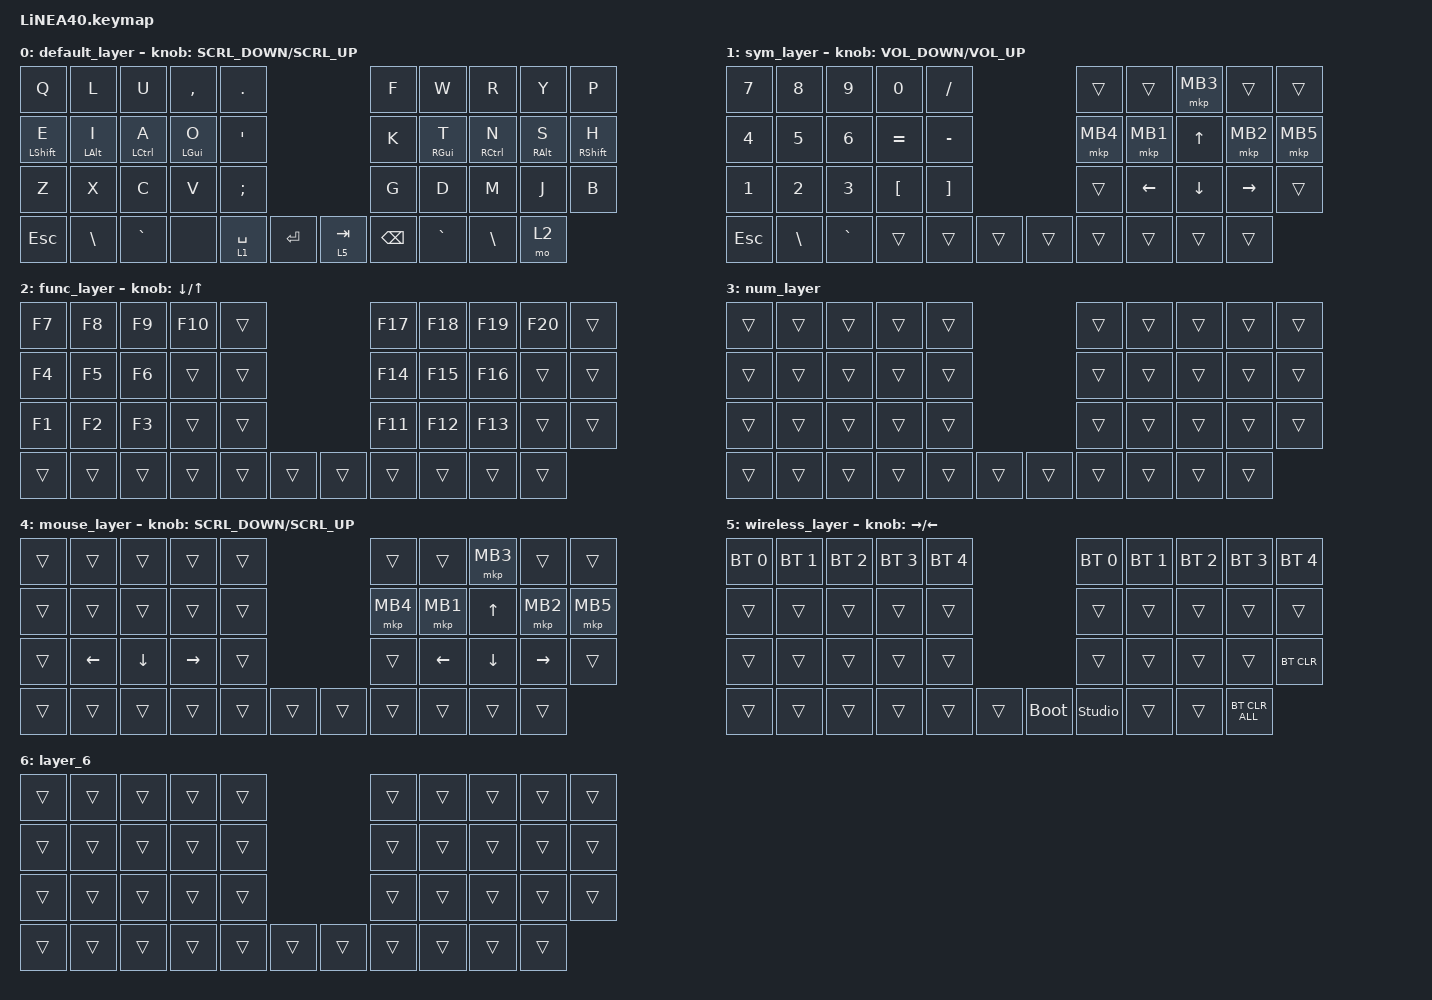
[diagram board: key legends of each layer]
#include <dt-bindings/zmk/input_transform.h>
#include <input/processors.dtsi>
#include <zephyr/dt-bindings/input/input-event-codes.h>
#include <behaviors.dtsi>
#include <dt-bindings/zmk/bt.h>
#include <dt-bindings/zmk/keys.h>
#include <dt-bindings/zmk/pointing.h>

#define ZMK_POINTING_DEFAULT_SCRL_VAL 150

// ==========================================
// 1. レイヤー番号の定義 (マクロ)
// ==========================================
// 0: DEFAULT - 基本英字入力（ホームロウ Mod-Tap）
// 1: SYM      - 記号・数字・マウス操作
// 2: FUNC     - ファンクションキー
// 3: NUM      - テンキー等
// 4: MOUSE    - オートマウスレイヤー
// 5: WIRELESS - Bluetooth設定

#define DEFAULT  0
#define SYM      1
#define FUNC     2
#define NUM      3
#define MOUSE    4
#define WIRELESS 5

// ==========================================
// 2. キー配列定義 (Keymap)
// ==========================================

/ {
    keymap {
        compatible = "zmk,keymap";

        // ────────────────────────────────────────────────
        // Layer 0: DEFAULT
        // 左手ホームロウ: E=Shift, I=Alt, A=Ctrl, O=Win
        // 右手ホームロウ: T=Win, N=Ctrl, S=Alt, H=Shift
        // ────────────────────────────────────────────────

        default_layer {
            bindings = <
&kp Q          &kp L          &kp U         &kp COMMA    &kp PERIOD                                &kp F          &kp W        &kp R         &kp Y          &kp P
&hml LSHIFT E  &hml LALT I    &hml LCTRL A  &hml LGUI O  &kp SINGLE_QUOTE                          &kp K          &hmr RGUI T  &hmr RCTRL N  &hmr RALT S    &hmr RSHIFT H
&kp Z          &kp X          &kp C         &kp V        &kp SEMICOLON                             &kp G          &kp D        &kp M         &kp J          &kp B
&kp ESC        &kp BACKSLASH  &kp GRAVE     &none        &lt 1 SPACE       &kp ENTER    &lt 5 TAB  &kp BACKSPACE               &kp GRAVE     &kp BACKSLASH  &mo 2
            >;

            sensor-bindings = <&mouse_scrl SCRL_DOWN SCRL_UP>;
        };

        sym_layer {
            bindings = <
&kp NUMBER_7  &kp NUMBER_8   &kp NUMBER_9  &kp NUMBER_0      &kp SLASH                            &trans    &trans    &mkp MB3  &trans     &trans
&kp NUMBER_4  &kp NUMBER_5   &kp NUMBER_6  &kp EQUAL         &kp MINUS                            &mkp MB4  &mkp MB1  &kp UP    &mkp MB2   &mkp MB5
&kp NUMBER_1  &kp NUMBER_2   &kp NUMBER_3  &kp LEFT_BRACKET  &kp RIGHT_BRACKET                    &trans    &kp LEFT  &kp DOWN  &kp RIGHT  &trans
&kp ESC       &kp BACKSLASH  &kp GRAVE     &trans            &trans             &trans    &trans  &trans              &trans    &trans     &trans
            >;

            sensor-bindings = <&re_kp C_VOLUME_DOWN C_VOLUME_UP>;
        };

        func_layer {
            bindings = <
&kp F7  &kp F8  &kp F9  &kp F10  &trans                    &kp F17  &kp F18  &kp F19  &kp F20  &trans
&kp F4  &kp F5  &kp F6  &trans   &trans                    &kp F14  &kp F15  &kp F16  &trans   &trans
&kp F1  &kp F2  &kp F3  &trans   &trans                    &kp F11  &kp F12  &kp F13  &trans   &trans
&trans  &trans  &trans  &trans   &trans  &trans    &trans  &trans            &trans   &trans   &trans
            >;

            sensor-bindings = <&inc_dec_kp DOWN UP>;
        };

        num_layer {
            bindings = <
&trans  &trans  &trans  &trans  &trans                    &trans  &trans  &trans  &trans  &trans
&trans  &trans  &trans  &trans  &trans                    &trans  &trans  &trans  &trans  &trans
&trans  &trans  &trans  &trans  &trans                    &trans  &trans  &trans  &trans  &trans
&trans  &trans  &trans  &trans  &trans  &trans    &trans  &trans          &trans  &trans  &trans
            >;
        };

        mouse_layer {
            bindings = <
&trans  &trans  &trans  &trans  &trans                      &trans    &trans    &mkp MB3  &trans     &trans
&trans  &trans  &trans  &trans  &trans                    &mkp MB4  &mkp MB1  &kp UP    &mkp MB2   &mkp MB5
&trans    &kp LEFT  &kp DOWN  &kp RIGHT  &trans                      &trans    &kp LEFT  &kp DOWN  &kp RIGHT  &trans
&trans    &trans    &trans    &trans     &trans    &trans    &trans  &trans          &trans  &trans  &trans
            >;

            sensor-bindings = <&mouse_scrl SCRL_DOWN SCRL_UP>;
        };

        wireless_layer {
            bindings = <
&bt BT_SEL 0  &bt BT_SEL 1  &bt BT_SEL 2  &bt BT_SEL 3  &bt BT_SEL 4                         &bt BT_SEL 0    &bt BT_SEL 1  &bt BT_SEL 2  &bt BT_SEL 3  &bt BT_SEL 4
&trans        &trans        &trans        &trans        &trans                               &trans          &trans        &trans        &trans        &trans
&trans        &trans        &trans        &trans        &trans                               &trans          &trans        &trans        &trans        &bt BT_CLR
&trans        &trans        &trans        &trans        &trans        &trans    &bootloader  &studio_unlock                &trans        &trans        &bt BT_CLR_ALL
            >;

            sensor-bindings = <&inc_dec_kp RIGHT_ARROW LEFT_ARROW>;
        };

        layer_6 {
            bindings = <
&trans  &trans  &trans  &trans  &trans                    &trans  &trans  &trans  &trans  &trans
&trans  &trans  &trans  &trans  &trans                    &trans  &trans  &trans  &trans  &trans
&trans  &trans  &trans  &trans  &trans                    &trans  &trans  &trans  &trans  &trans
&trans  &trans  &trans  &trans  &trans  &trans    &trans  &trans          &trans  &trans  &trans
            >;
        };
    };
};

// ==========================================
// 3. マウス・スクロールの論理パラメータ設定
// ==========================================
// マウスカーソル設定

&mmv {
    delay-ms = <20>;
    trigger-period-ms = <5>;
    time-to-max-speed-ms = <100>;
    acceleration-exponent = <2>;
};

// マウススクロール設定

&msc {
    delay-ms = <3>;
    trigger-period-ms = <3>;
    time-to-max-speed-ms = <100>;
    acceleration-exponent = <0>;
};

// ==========================================
// 5. カスタム動作の定義 (Combos / Behaviors)
// ==========================================

/ {
    combos {
        compatible = "zmk,combos";

        // 全角/半角 (左上 E+I)
        // Delete (右上 R+Y)
        // Insert (右上 W+R)
        // 中クリック
        // 右クリック
        // 戻る (MB4)
        // 進む (MB5)
    };

    behaviors {
        re_kp: sensor_rotate_kp {
            compatible = "zmk,behavior-sensor-rotate-var";
            #sensor-binding-cells = <2>;
            bindings = <&kp>, <&kp>;
        };

        mouse_scrl: mouse_wheel_scrl {
            compatible = "zmk,behavior-sensor-rotate-var";
            #sensor-binding-cells = <2>;
            bindings = <&msc>, <&msc>;

            tap-ms = <20>;
        };

        // ──────────────────────────────────────────
        // ホームロウ Mod-Tap（ZMK公式推奨 Timeless設定）
        //
        // 左手用と右手用で分離し、Positional Hold-Tapを採用
        // これにより同じ手での修飾キー組み合わせが可能になる
        //
        // tapping-term-ms: 280ms（意図的なホールドを認識しやすく）
        // require-prior-idle-ms: 150ms（タイピング中の誤反応防止）
        // quick-tap-ms: 175ms（同じキーの連続入力をサポート）
        // flavor: "balanced"（次のキーの押下+リリースで判定）
        // hold-trigger-on-release: 同じ手での修飾キー組み合わせを可能に
        // ──────────────────────────────────────────
        // 左手ホームロウ用（右手のキーポジションを指定）

        hml: homerow_mod_left {
            compatible = "zmk,behavior-hold-tap";
            #binding-cells = <2>;
            flavor = "balanced";
            tapping-term-ms = <180>;
            require-prior-idle-ms = <150>;
            quick-tap-ms = <175>;
            bindings = <&kp>, <&kp>;

            // 右手のキーポジション（0-based、左から順に）
            // 右半分: 5-9, 15-19, 25-29, 35-40

            hold-trigger-key-positions = <5 6 7 8 9 15 16 17 18 19 25 26 27 28 29>;
            hold-trigger-on-release;
        };

        // 右手ホームロウ用（左手のキーポジションを指定）

        hmr: homerow_mod_right {
            compatible = "zmk,behavior-hold-tap";
            #binding-cells = <2>;
            flavor = "balanced";
            tapping-term-ms = <180>;
            require-prior-idle-ms = <150>;
            quick-tap-ms = <175>;
            bindings = <&kp>, <&kp>;

            // 左手のキーポジション（0-based、左から順に）
            // 左半分: 0-4, 10-14, 20-24, 30-34

            hold-trigger-key-positions = <0 1 2 3 4 10 11 12 13 14 20 21 22 23 24>;
            hold-trigger-on-release;
        };
    };
};
